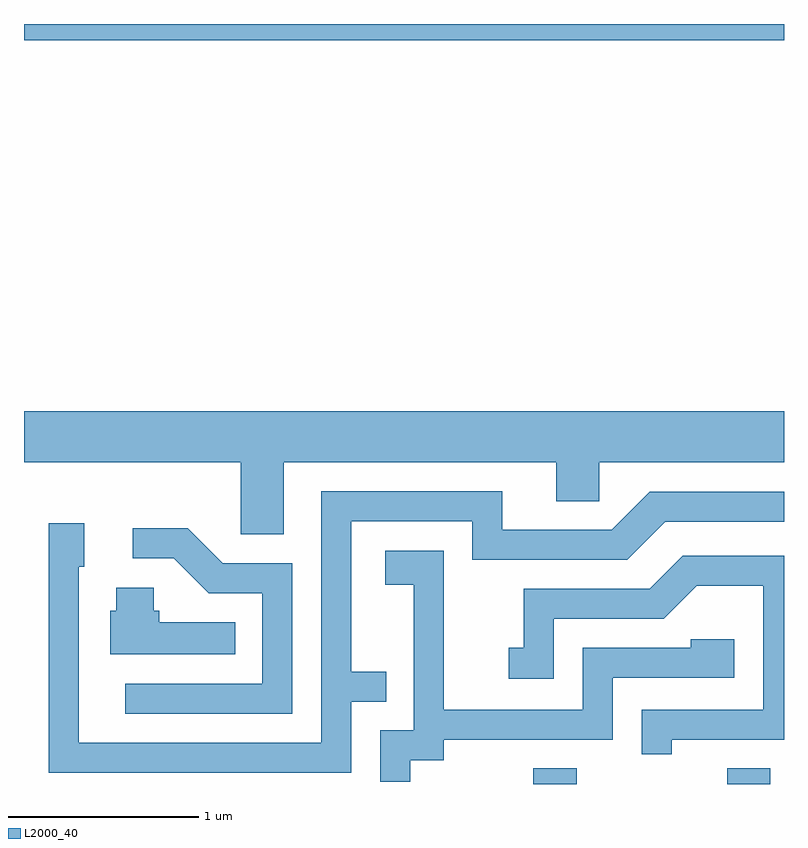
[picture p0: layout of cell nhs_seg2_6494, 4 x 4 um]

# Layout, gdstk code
import gdstk
lib = gdstk.Library(unit=1e-6, precision=1e-09)
def R(c, l, rs):  # rectangles x0, y0, x1, y1
    for r in rs: c.add(gdstk.rectangle(r[:2], r[2:], *l))
def P(c, l, *ps):  # polygons
    for p in ps: c.add(gdstk.Polygon(p, *l))
L2000_40 = (2000, 40)

nhs_seg2_6494 = lib.new_cell('nhs_seg2_6494')
R(nhs_seg2_6494, L2000_40, [(380.291,977.802,380.519,977.884), (381.311,977.802,381.539,977.884), (377.611,981.716,381.611,981.802)])
P(nhs_seg2_6494, L2000_40, [(378.979,979.496),(380.411,979.496),(380.411,979.291),(380.639,979.291),(380.639,979.496),(381.611,979.496),(381.611,979.764),(377.611,979.764),(377.611,979.496),(378.751,979.496),(378.751,979.116),(378.979,979.116)],
  [(379.334,978.236),(379.518,978.236),(379.518,978.394),(379.334,978.394),(379.334,979.186),(379.971,979.186),(379.971,978.981),(380.787,978.981),(380.987,979.181),(381.611,979.181),(381.611,979.339),(380.904,979.339),(380.704,979.139),(380.129,979.139),(380.129,979.344),(379.176,979.344),(379.176,978.019),(377.899,978.019),(377.899,978.946),(377.929,978.946),(377.929,979.174),(377.741,979.174),(377.741,977.861),(379.334,977.861)],
  [(379.024,978.964),(378.657,978.964),(378.472,979.149),(378.183,979.149),(378.183,978.991),(378.399,978.991),(378.584,978.806),(378.866,978.806),(378.866,978.329),(378.143,978.329),(378.143,978.171),(379.024,978.171)],
  [(379.644,977.926),(379.819,977.926),(379.819,978.036),(380.709,978.036),(380.709,978.361),(381.349,978.361),(381.349,978.564),(381.121,978.564),(381.121,978.519),(380.551,978.519),(380.551,978.194),(379.819,978.194),(379.819,979.029),(379.511,979.029),(379.511,978.851),(379.661,978.851),(379.661,978.084),(379.486,978.084),(379.486,977.813),(379.644,977.813)],
  [(381.019,978.036),(381.611,978.036),(381.611,979.004),(381.079,979.004),(380.904,978.829),(380.241,978.829),(380.241,978.519),(380.163,978.519),(380.163,978.356),(380.399,978.356),(380.399,978.671),(380.977,978.671),(381.152,978.846),(381.501,978.846),(381.501,978.194),(380.861,978.194),(380.861,977.958),(381.019,977.958)],
  [(378.723,978.654),(378.324,978.654),(378.324,978.714),(378.294,978.714),(378.294,978.834),(378.096,978.834),(378.096,978.714),(378.066,978.714),(378.066,978.486),(378.723,978.486)])

lib.write_gds('nhs_seg2_6494.gds')
